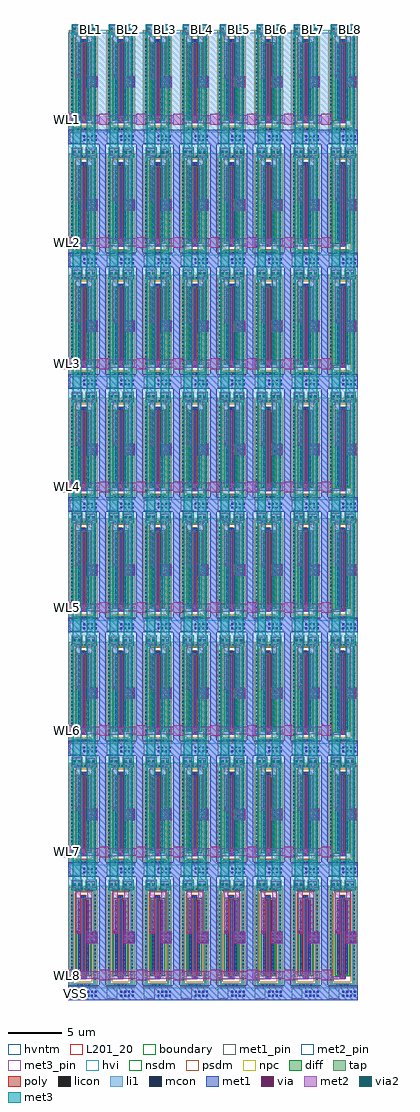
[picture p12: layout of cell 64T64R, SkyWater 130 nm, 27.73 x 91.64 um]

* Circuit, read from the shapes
.subckt 64T64R BL1 BL2 BL3 BL4 BL5 BL6 BL7 BL8 SL1 SL2 SL3 SL4 SL5 SL6 SL7 SL8 VSS WL1 WL2 WL3 WL4 WL5 WL6 WL7 WL8
XM1 BL1 WL8 SL1 VSS sky130_fd_pr__nfet_g5v0d10v5 w=7 l=0.5
XM2 BL1 WL7 SL1 VSS sky130_fd_pr__nfet_g5v0d10v5 w=7 l=0.5
XM3 BL1 WL6 SL1 VSS sky130_fd_pr__nfet_g5v0d10v5 w=7 l=0.5
XM4 BL1 WL5 SL1 VSS sky130_fd_pr__nfet_g5v0d10v5 w=7 l=0.5
XM5 BL1 WL4 SL1 VSS sky130_fd_pr__nfet_g5v0d10v5 w=7 l=0.5
XM6 BL1 WL3 SL1 VSS sky130_fd_pr__nfet_g5v0d10v5 w=7 l=0.5
XM7 BL1 WL2 SL1 VSS sky130_fd_pr__nfet_g5v0d10v5 w=7 l=0.5
XM8 BL1 WL1 SL1 VSS sky130_fd_pr__nfet_g5v0d10v5 w=7 l=0.5
XM9 BL2 WL8 SL2 VSS sky130_fd_pr__nfet_g5v0d10v5 w=7 l=0.5
XM10 BL2 WL7 SL2 VSS sky130_fd_pr__nfet_g5v0d10v5 w=7 l=0.5
XM11 BL2 WL6 SL2 VSS sky130_fd_pr__nfet_g5v0d10v5 w=7 l=0.5
XM12 BL2 WL5 SL2 VSS sky130_fd_pr__nfet_g5v0d10v5 w=7 l=0.5
XM13 BL2 WL4 SL2 VSS sky130_fd_pr__nfet_g5v0d10v5 w=7 l=0.5
XM14 BL2 WL3 SL2 VSS sky130_fd_pr__nfet_g5v0d10v5 w=7 l=0.5
XM15 BL2 WL2 SL2 VSS sky130_fd_pr__nfet_g5v0d10v5 w=7 l=0.5
XM16 BL2 WL1 SL2 VSS sky130_fd_pr__nfet_g5v0d10v5 w=7 l=0.5
XM17 BL3 WL8 SL3 VSS sky130_fd_pr__nfet_g5v0d10v5 w=7 l=0.5
XM18 BL3 WL7 SL3 VSS sky130_fd_pr__nfet_g5v0d10v5 w=7 l=0.5
XM19 BL3 WL6 SL3 VSS sky130_fd_pr__nfet_g5v0d10v5 w=7 l=0.5
XM20 BL3 WL5 SL3 VSS sky130_fd_pr__nfet_g5v0d10v5 w=7 l=0.5
XM21 BL3 WL4 SL3 VSS sky130_fd_pr__nfet_g5v0d10v5 w=7 l=0.5
XM22 BL3 WL3 SL3 VSS sky130_fd_pr__nfet_g5v0d10v5 w=7 l=0.5
XM23 BL3 WL2 SL3 VSS sky130_fd_pr__nfet_g5v0d10v5 w=7 l=0.5
XM24 BL3 WL1 SL3 VSS sky130_fd_pr__nfet_g5v0d10v5 w=7 l=0.5
XM25 BL4 WL8 SL4 VSS sky130_fd_pr__nfet_g5v0d10v5 w=7 l=0.5
XM26 BL4 WL7 SL4 VSS sky130_fd_pr__nfet_g5v0d10v5 w=7 l=0.5
XM27 BL4 WL6 SL4 VSS sky130_fd_pr__nfet_g5v0d10v5 w=7 l=0.5
XM28 BL4 WL5 SL4 VSS sky130_fd_pr__nfet_g5v0d10v5 w=7 l=0.5
XM29 BL4 WL4 SL4 VSS sky130_fd_pr__nfet_g5v0d10v5 w=7 l=0.5
XM30 BL4 WL3 SL4 VSS sky130_fd_pr__nfet_g5v0d10v5 w=7 l=0.5
XM31 BL4 WL2 SL4 VSS sky130_fd_pr__nfet_g5v0d10v5 w=7 l=0.5
XM32 BL4 WL1 SL4 VSS sky130_fd_pr__nfet_g5v0d10v5 w=7 l=0.5
XM33 BL5 WL8 SL5 VSS sky130_fd_pr__nfet_g5v0d10v5 w=7 l=0.5
XM34 BL5 WL7 SL5 VSS sky130_fd_pr__nfet_g5v0d10v5 w=7 l=0.5
XM35 BL5 WL6 SL5 VSS sky130_fd_pr__nfet_g5v0d10v5 w=7 l=0.5
XM36 BL5 WL5 SL5 VSS sky130_fd_pr__nfet_g5v0d10v5 w=7 l=0.5
XM37 BL5 WL4 SL5 VSS sky130_fd_pr__nfet_g5v0d10v5 w=7 l=0.5
XM38 BL5 WL3 SL5 VSS sky130_fd_pr__nfet_g5v0d10v5 w=7 l=0.5
XM39 BL5 WL2 SL5 VSS sky130_fd_pr__nfet_g5v0d10v5 w=7 l=0.5
XM40 BL5 WL1 SL5 VSS sky130_fd_pr__nfet_g5v0d10v5 w=7 l=0.5
XM41 BL6 WL8 SL6 VSS sky130_fd_pr__nfet_g5v0d10v5 w=7 l=0.5
XM42 BL6 WL7 SL6 VSS sky130_fd_pr__nfet_g5v0d10v5 w=7 l=0.5
XM43 BL6 WL6 SL6 VSS sky130_fd_pr__nfet_g5v0d10v5 w=7 l=0.5
XM44 BL6 WL5 SL6 VSS sky130_fd_pr__nfet_g5v0d10v5 w=7 l=0.5
XM45 BL6 WL4 SL6 VSS sky130_fd_pr__nfet_g5v0d10v5 w=7 l=0.5
XM46 BL6 WL3 SL6 VSS sky130_fd_pr__nfet_g5v0d10v5 w=7 l=0.5
XM47 BL6 WL2 SL6 VSS sky130_fd_pr__nfet_g5v0d10v5 w=7 l=0.5
XM48 BL6 WL1 SL6 VSS sky130_fd_pr__nfet_g5v0d10v5 w=7 l=0.5
XM49 BL7 WL8 SL7 VSS sky130_fd_pr__nfet_g5v0d10v5 w=7 l=0.5
XM50 BL7 WL7 SL7 VSS sky130_fd_pr__nfet_g5v0d10v5 w=7 l=0.5
XM51 BL7 WL6 SL7 VSS sky130_fd_pr__nfet_g5v0d10v5 w=7 l=0.5
XM52 BL7 WL5 SL7 VSS sky130_fd_pr__nfet_g5v0d10v5 w=7 l=0.5
XM53 BL7 WL4 SL7 VSS sky130_fd_pr__nfet_g5v0d10v5 w=7 l=0.5
XM54 BL7 WL3 SL7 VSS sky130_fd_pr__nfet_g5v0d10v5 w=7 l=0.5
XM55 BL7 WL2 SL7 VSS sky130_fd_pr__nfet_g5v0d10v5 w=7 l=0.5
XM56 BL7 WL1 SL7 VSS sky130_fd_pr__nfet_g5v0d10v5 w=7 l=0.5
XM57 BL8 WL8 SL8 VSS sky130_fd_pr__nfet_g5v0d10v5 w=7 l=0.5
XM58 BL8 WL7 SL8 VSS sky130_fd_pr__nfet_g5v0d10v5 w=7 l=0.5
XM59 BL8 WL6 SL8 VSS sky130_fd_pr__nfet_g5v0d10v5 w=7 l=0.5
XM60 BL8 WL5 SL8 VSS sky130_fd_pr__nfet_g5v0d10v5 w=7 l=0.5
XM61 BL8 WL4 SL8 VSS sky130_fd_pr__nfet_g5v0d10v5 w=7 l=0.5
XM62 BL8 WL3 SL8 VSS sky130_fd_pr__nfet_g5v0d10v5 w=7 l=0.5
XM63 BL8 WL2 SL8 VSS sky130_fd_pr__nfet_g5v0d10v5 w=7 l=0.5
XM64 BL8 WL1 SL8 VSS sky130_fd_pr__nfet_g5v0d10v5 w=7 l=0.5
.ends

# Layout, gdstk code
import gdstk
lib = gdstk.Library(unit=1e-6, precision=1e-09)
def R(c, l, rs):  # rectangles x0, y0, x1, y1
    for r in rs: c.add(gdstk.rectangle(r[:2], r[2:], *l))
def A(c, l, x, y, w, h, nx, ny, dx, dy):  # array of equal rectangles
    R(c, l, [(x+i*dx, y+j*dy, x+i*dx+w, y+j*dy+h) for i in range(nx) for j in range(ny)])
diff = (65, 20)
tap = (65, 44)
poly = (66, 20)
licon = (66, 44)
li1 = (67, 20)
mcon = (67, 44)
met1_pin = (68, 16)
met1 = (68, 20)
via = (68, 44)
met2_pin = (69, 16)
met2 = (69, 20)
via2 = (69, 44)
met3_pin = (70, 16)
met3 = (70, 20)
hvi = (75, 20)
nsdm = (93, 44)
psdm = (94, 20)
npc = (95, 20)
hvntm = (125, 20)
L201_20 = (201, 20)
boundary = (235, 4)

sky130_fd_pr_reram__rera = lib.new_cell('sky130_fd_pr_reram__reram_cell')
R(sky130_fd_pr_reram__rera, met1_pin, [(0,-2,1,-1)])
R(sky130_fd_pr_reram__rera, met1, [(-0.03,-2,1.03,-1)])
A(sky130_fd_pr_reram__rera, via, 0.105, -1.895, 0.15, 0.15, 3, 3, 0.32, 0.32)
R(sky130_fd_pr_reram__rera, met2_pin, [(0,-2,1,-1)])
R(sky130_fd_pr_reram__rera, met2, [(0,-2.03,1,-0.97)])
R(sky130_fd_pr_reram__rera, L201_20, [(0,-2,1,-1)])
sky130_fd_pr_reram__rera.add(gdstk.Label('TE', (0.5,-1.5), layer=69, texttype=5))
sky130_fd_pr_reram__rera.add(gdstk.Label('BE', (0.5,-1.5), layer=68, texttype=5))

sky130_fd_pr__nfet_g5v0d = lib.new_cell('sky130_fd_pr__nfet_g5v0d10v5_9YEQ2B')
R(sky130_fd_pr__nfet_g5v0d, diff, [(-0.54,-3.5,0.54,3.5)])
R(sky130_fd_pr__nfet_g5v0d, tap, [(-1.21,-4.61,1.21,-4.32), (-1.21,-4.32,-0.92,4.32), (0.92,-4.32,1.21,4.32), (-1.21,4.32,1.21,4.61)])
R(sky130_fd_pr__nfet_g5v0d, poly, [(-0.25,-3.94,0.25,3.94)])
A(sky130_fd_pr__nfet_g5v0d, licon, -0.595, -4.55, 0.17, 0.17, 4, 2, 0.34, 8.93)
A(sky130_fd_pr__nfet_g5v0d, licon, -1.15, -3.995, 0.17, 0.17, 1, 24, 0, 0.34)
A(sky130_fd_pr__nfet_g5v0d, licon, 0.98, -3.995, 0.17, 0.17, 1, 24, 0, 0.34)
A(sky130_fd_pr__nfet_g5v0d, licon, -0.48, -3.315, 0.17, 0.17, 1, 20, 0, 0.34)
A(sky130_fd_pr__nfet_g5v0d, licon, 0.31, -3.315, 0.17, 0.17, 1, 20, 0, 0.34)
R(sky130_fd_pr__nfet_g5v0d, licon, [(-0.085,-3.86,0.085,-3.69), (-0.085,3.69,0.085,3.86)])
R(sky130_fd_pr__nfet_g5v0d, li1, [(-1.15,-4.55,1.15,-4.38), (-1.15,-4.38,-0.98,4.38), (0.98,-4.38,1.15,4.38), (-0.25,-3.86,0.25,-3.69), (-0.48,-3.52,-0.31,3.52), (0.31,-3.52,0.48,3.52), (-0.25,3.69,0.25,3.86), (-1.15,4.38,1.15,4.55)])
A(sky130_fd_pr__nfet_g5v0d, mcon, -0.48, -3.325, 0.17, 0.17, 1, 19, 0, 0.36)
A(sky130_fd_pr__nfet_g5v0d, mcon, 0.31, -3.325, 0.17, 0.17, 1, 19, 0, 0.36)
R(sky130_fd_pr__nfet_g5v0d, mcon, [(-0.085,-3.86,0.085,-3.69), (-0.085,3.69,0.085,3.86)])
R(sky130_fd_pr__nfet_g5v0d, met1, [(-0.23,-3.89,0.23,-3.66), (-0.51,-3.5,-0.28,3.5), (0.28,-3.5,0.51,3.5), (-0.23,3.66,0.23,3.89)])
R(sky130_fd_pr__nfet_g5v0d, hvi, [(-1.395,-4.795,1.395,4.795)])
R(sky130_fd_pr__nfet_g5v0d, nsdm, [(-0.665,-3.625,0.665,3.625)])
R(sky130_fd_pr__nfet_g5v0d, psdm, [(-1.335,-4.735,1.335,-4.195), (-1.335,-4.195,-0.795,4.195), (0.795,-4.195,1.335,4.195), (-1.335,4.195,1.335,4.735)])
R(sky130_fd_pr__nfet_g5v0d, npc, [(-0.185,-3.96,0.185,-3.59), (-0.185,3.59,0.185,3.96)])
R(sky130_fd_pr__nfet_g5v0d, hvntm, [(-0.725,-3.685,0.725,3.685)])
R(sky130_fd_pr__nfet_g5v0d, boundary, [(-1.06,-4.46,1.06,4.46)])

c_1t1r = lib.new_cell('1T1R')
R(c_1t1r, li1, [(3.12,-1.64,5.98,-0.28), (3.12,-0.28,3.4,8.82), (5.7,-0.28,5.98,8.82)])
A(c_1t1r, mcon, 4.545, -1.32, 0.17, 0.17, 4, 2, 0.36, 0.36)
R(c_1t1r, met1_pin, [(3.26,-1.54,4.26,-0.54)])
R(c_1t1r, met1, [(3.12,-1.64,5.98,-0.27), (4.29,0.36,4.84,0.63), (4.46,0.63,4.66,8.14), (3.91,4.62,4.3,4.88)])
R(c_1t1r, via, [(4.49,0.42,4.64,0.57), (4.03,4.675,4.18,4.825)])
R(c_1t1r, met2_pin, [(2.56,0.2,3.56,1.2)])
R(c_1t1r, met2, [(2.56,0.2,3.56,0.32), (4.34,0.31,4.79,0.32), (2.56,0.32,4.79,0.56), (2.56,0.56,3.56,1.2), (4.34,0.56,4.79,0.68), (4.9,4.43,5.35,8.86), (3.96,4.57,4.25,4.61), (3.83,4.61,4.28,8.88), (4.86,8.86,5.65,9.52), (3.54,8.88,4.33,9.54)])
R(c_1t1r, via2, [(4.955,9.09,5.155,9.29), (5.355,9.09,5.555,9.29), (3.635,9.11,3.835,9.31), (4.035,9.11,4.235,9.31)])
R(c_1t1r, met3_pin, [(3.45,8.65,4.45,9.65), (4.78,8.65,5.78,9.65)])
R(c_1t1r, met3, [(3.45,8.65,4.45,9.65), (4.78,8.65,5.78,9.65)])
c_1t1r.add(gdstk.Reference(sky130_fd_pr_reram__rera, (4.84,5.72)))
c_1t1r.add(gdstk.Reference(sky130_fd_pr__nfet_g5v0d, (4.55,4.27)))
c_1t1r.add(gdstk.Label('SL', (3.95,9.15), layer=70, texttype=5))
c_1t1r.add(gdstk.Label('VSS', (3.76,-1.04), layer=68, texttype=5))
c_1t1r.add(gdstk.Label('WL', (3.06,0.7), layer=69, texttype=5))
c_1t1r.add(gdstk.Label('BL', (5.28,9.15), layer=70, texttype=5))

c_4t4r = lib.new_cell('4T4R')
R(c_4t4r, li1, [(5.73,4.27,6.42,5.64), (5.73,5.64,6.34,14.73), (2.87,14.73,9.2,15.83), (5.73,15.83,6.34,16.86), (5.68,16.86,6.34,26.29)])
R(c_4t4r, met1_pin, [(3.01,4.37,4.01,5.37)])
R(c_4t4r, met1, [(5.62,4.27,6.42,5.64), (3.01,4.37,4.01,5.37), (5.76,5.64,6.37,15.83), (5.67,15.83,6.37,17.2)])
R(c_4t4r, met2_pin, [(2.31,6.11,3.31,7.11), (2.31,17.67,3.31,18.67)])
R(c_4t4r, met2, [(2.31,6.11,3.31,6.26), (2.31,6.26,6.72,6.98), (2.31,6.98,3.31,7.11), (2.31,17.67,3.31,17.81), (2.31,17.81,6.62,18.53), (2.31,18.53,3.31,18.67)])
R(c_4t4r, met3_pin, [(3.2,26.12,4.2,27.12), (4.53,26.12,5.53,27.12), (6.67,26.12,7.67,27.12), (8,26.12,9,27.12)])
R(c_4t4r, met3, [(3.29,14.78,4.08,26.12), (4.61,14.82,5.4,26.12), (6.76,14.83,7.55,26.12), (8.08,15.14,8.87,26.12), (3.2,26.12,4.2,27.12), (4.53,26.12,5.53,27.12), (6.67,26.12,7.67,27.12), (8,26.12,9,27.12)])
R(c_4t4r, hvi, [(5.695,5.385,6.375,14.975), (5.695,16.945,6.375,26.535)])
c_4t4r.add(gdstk.Reference(c_1t1r, (3.22,5.91)))
c_4t4r.add(gdstk.Reference(c_1t1r, (3.22,17.47)))
c_4t4r.add(gdstk.Reference(c_1t1r, (-0.25,5.91)))
c_4t4r.add(gdstk.Reference(c_1t1r, (-0.25,17.47)))
c_4t4r.add(gdstk.Label('VSS', (3.51,4.87), layer=68, texttype=5))
c_4t4r.add(gdstk.Label('BL1', (5.03,26.62), layer=70, texttype=5))
c_4t4r.add(gdstk.Label('BL2', (8.5,26.62), layer=70, texttype=5))
c_4t4r.add(gdstk.Label('WL1', (2.81,18.17), layer=69, texttype=5))
c_4t4r.add(gdstk.Label('WL2', (2.81,6.61), layer=69, texttype=5))
c_4t4r.add(gdstk.Label('SL1', (3.7,26.62), layer=70, texttype=5))
c_4t4r.add(gdstk.Label('SL2', (7.17,26.62), layer=70, texttype=5))

c_16t16r = lib.new_cell('16T16R')
R(c_16t16r, li1, [(13.78,3,14.41,13.46), (7.45,13.46,20.74,14.56), (10.34,14.56,10.95,15.92), (13.78,14.56,14.41,25.01), (10.14,15.92,10.95,25.01), (17.27,15.93,17.88,25.01), (7.45,25.01,20.74,25.95), (10.34,25.95,10.95,27.23), (13.78,25.95,14.41,36.41), (7.45,36.41,20.74,37.51), (13.78,37.51,14.41,47.97), (10.31,38.88,10.94,47.97), (17.27,38.88,17.88,47.97)])
R(c_16t16r, met1_pin, [(7.59,3.1,8.59,4.1)])
R(c_16t16r, met1, [(13.78,3,14.45,4.37), (7.59,3.1,8.59,4.1), (13.83,4.37,14.44,14.56), (10.34,14.33,10.95,27.37), (13.74,14.56,14.44,15.93), (13.83,15.93,14.44,25.95), (17.31,15.93,17.92,25.98), (13.72,25.95,14.44,27.32), (13.83,27.32,14.44,37.51), (13.71,37.51,14.44,38.88)])
R(c_16t16r, met2_pin, [(6.89,4.84,7.89,5.84), (6.89,16.4,7.89,17.4), (6.89,27.79,7.89,28.79), (6.89,39.35,7.89,40.35)])
R(c_16t16r, met2, [(6.89,4.84,7.89,5.84), (9.8,4.99,14.01,5.71), (6.89,16.4,7.89,17.4), (10.11,16.54,14.32,17.26), (6.89,27.79,7.89,28.79), (10.16,27.94,14.37,28.66), (6.89,39.35,7.89,40.35), (10.19,39.49,14.4,40.21)])
R(c_16t16r, met3_pin, [(7.78,47.8,8.78,48.8), (9.11,47.8,10.11,48.8), (11.25,47.8,12.25,48.8), (12.58,47.8,13.58,48.8), (14.74,47.8,15.74,48.8), (16.07,47.8,17.07,48.8), (18.21,47.8,19.21,48.8), (19.54,47.8,20.54,48.8)])
R(c_16t16r, met3, [(16.15,13.81,16.94,47.8), (12.66,13.82,13.45,47.8), (19.62,13.88,20.41,47.8), (9.19,13.93,9.98,47.8), (7.87,25.2,8.66,37.37), (11.34,25.21,12.13,37.38), (14.83,25.23,15.62,37.4), (18.3,25.27,19.09,37.44), (7.78,47.8,8.78,48.8), (9.11,47.8,10.11,48.8), (11.25,47.8,12.25,48.8), (12.58,47.8,13.58,48.8), (14.74,47.8,15.74,48.8), (16.07,47.8,17.07,48.8), (18.21,47.8,19.21,48.8), (19.54,47.8,20.54,48.8)])
c_16t16r.add(gdstk.Reference(c_4t4r, (11.54,-1.27)))
c_16t16r.add(gdstk.Reference(c_4t4r, (11.54,21.68)))
c_16t16r.add(gdstk.Reference(c_4t4r, (4.58,-1.27)))
c_16t16r.add(gdstk.Reference(c_4t4r, (4.58,21.68)))
c_16t16r.add(gdstk.Label('WL1', (7.39,39.85), layer=69, texttype=5))
c_16t16r.add(gdstk.Label('WL2', (7.39,28.29), layer=69, texttype=5))
c_16t16r.add(gdstk.Label('WL3', (7.39,16.9), layer=69, texttype=5))
c_16t16r.add(gdstk.Label('WL4', (7.39,5.34), layer=69, texttype=5))
c_16t16r.add(gdstk.Label('BL1', (9.61,48.3), layer=70, texttype=5))
c_16t16r.add(gdstk.Label('BL2', (13.08,48.3), layer=70, texttype=5))
c_16t16r.add(gdstk.Label('BL3', (16.57,48.3), layer=70, texttype=5))
c_16t16r.add(gdstk.Label('BL4', (20.04,48.3), layer=70, texttype=5))
c_16t16r.add(gdstk.Label('SL1', (8.28,48.3), layer=70, texttype=5))
c_16t16r.add(gdstk.Label('SL2', (11.75,48.3), layer=70, texttype=5))
c_16t16r.add(gdstk.Label('SL3', (15.24,48.3), layer=70, texttype=5))
c_16t16r.add(gdstk.Label('SL4', (18.71,48.3), layer=70, texttype=5))
c_16t16r.add(gdstk.Label('VSS', (8.09,3.6), layer=68, texttype=5))

c_64t64r = lib.new_cell('64T64R')
R(c_64t64r, li1, [(78.95,-9.82,79.54,35.15), (65.66,35.15,92.83,36.02), (78.95,36.02,79.54,80.99)])
R(c_64t64r, met1_pin, [(65.8,-9.72,66.8,-8.72)])
R(c_64t64r, met1, [(78.95,-9.82,79.6,-8.45), (65.8,-9.72,66.8,-8.72), (78.99,-8.45,79.6,1.74), (78.95,1.74,79.6,3.11), (78.99,3.11,79.6,13.13), (78.95,13.13,79.6,14.5), (78.99,14.5,79.6,24.69), (68.55,24.69,69.16,37.62), (72.04,24.69,72.65,37.62), (75.51,24.69,76.12,37.62), (78.95,24.69,79.6,26.06), (82.43,24.69,83.04,37.62), (85.92,24.69,86.53,37.62), (89.39,24.69,90,37.62), (78.99,26.06,79.6,36.02), (78.95,36.02,79.6,37.39), (78.99,37.39,79.6,47.58), (78.95,47.58,79.6,48.95), (78.99,48.95,79.6,58.97), (78.95,58.97,79.6,60.34), (78.99,60.34,79.6,70.53), (78.95,70.53,79.6,71.9)])
R(c_64t64r, met2_pin, [(65.1,-7.98,66.1,-6.98), (65.1,3.58,66.1,4.58), (65.1,14.97,66.1,15.97), (65.1,26.53,66.1,27.53), (65.1,37.86,66.1,38.86), (65.1,49.42,66.1,50.42), (65.1,60.81,66.1,61.81), (65.1,72.37,66.1,73.37)])
R(c_64t64r, met2, [(65.1,-7.98,66.1,-6.98), (75.39,-7.83,79.62,-7.11), (65.1,3.58,66.1,4.58), (75.27,3.72,79.5,4.44), (65.1,14.97,66.1,15.97), (75.31,15.12,79.54,15.84), (65.1,26.53,66.1,27.53), (75.31,26.67,79.54,27.39), (65.1,37.86,66.1,38.86), (75.29,38.01,79.52,38.73), (65.1,49.42,66.1,50.42), (75.33,49.56,79.56,50.28), (65.1,60.81,66.1,61.81), (75.34,60.96,79.57,61.68), (65.1,72.37,66.1,73.37), (75.34,72.51,79.57,73.23)])
R(c_64t64r, met3_pin, [(65.99,80.82,66.99,81.82), (67.32,80.82,68.32,81.82), (69.46,80.82,70.46,81.82), (70.79,80.82,71.79,81.82), (72.95,80.82,73.95,81.82), (74.28,80.82,75.28,81.82), (76.42,80.82,77.42,81.82), (77.75,80.82,78.75,81.82), (79.87,80.82,80.87,81.82), (81.2,80.82,82.2,81.82), (83.34,80.82,84.34,81.82), (84.67,80.82,85.67,81.82), (86.83,80.82,87.83,81.82), (88.16,80.82,89.16,81.82), (90.3,80.82,91.3,81.82), (91.63,80.82,92.63,81.82)])
R(c_64t64r, met3, [(70.87,0.96,71.67,80.82), (74.36,0.96,75.16,80.82), (81.28,0.96,82.08,80.82), (84.75,0.96,85.55,80.82), (91.71,0.96,92.51,80.82), (67.4,0.97,68.2,80.82), (77.83,0.97,78.63,80.82), (88.24,0.97,89.04,80.82), (69.55,35.41,70.34,47.4), (66.08,35.42,66.87,47.41), (83.43,35.42,84.22,47.41), (86.92,35.43,87.71,47.42), (73.04,35.44,73.83,47.43), (76.51,35.44,77.3,47.43), (90.39,35.44,91.18,47.43), (79.96,35.48,80.75,47.47), (65.99,80.82,66.99,81.82), (67.32,80.82,68.32,81.82), (69.46,80.82,70.46,81.82), (70.79,80.82,71.79,81.82), (72.95,80.82,73.95,81.82), (74.28,80.82,75.28,81.82), (76.42,80.82,77.42,81.82), (77.75,80.82,78.75,81.82), (79.87,80.82,80.87,81.82), (81.2,80.82,82.2,81.82), (83.34,80.82,84.34,81.82), (84.67,80.82,85.67,81.82), (86.83,80.82,87.83,81.82), (88.16,80.82,89.16,81.82), (90.3,80.82,91.3,81.82), (91.63,80.82,92.63,81.82)])
R(c_64t64r, hvi, [(78.915,-8.705,79.575,0.885), (78.915,2.855,79.575,12.445), (78.915,14.245,79.575,23.835), (78.915,25.805,79.575,35.395), (78.915,37.135,79.575,46.725), (78.915,48.695,79.575,58.285), (78.915,60.085,79.575,69.675), (78.915,71.645,79.575,81.235)])
c_64t64r.add(gdstk.Reference(c_16t16r, (72.09,33.02)))
c_64t64r.add(gdstk.Reference(c_16t16r, (72.09,-12.82)))
c_64t64r.add(gdstk.Reference(c_16t16r, (58.21,-12.82)))
c_64t64r.add(gdstk.Reference(c_16t16r, (58.21,33.02)))
c_64t64r.add(gdstk.Label('VSS', (66.3,-9.22), layer=68, texttype=5))
c_64t64r.add(gdstk.Label('WL1', (65.6,72.87), layer=69, texttype=5))
c_64t64r.add(gdstk.Label('WL2', (65.6,61.31), layer=69, texttype=5))
c_64t64r.add(gdstk.Label('WL3', (65.6,49.92), layer=69, texttype=5))
c_64t64r.add(gdstk.Label('WL4', (65.6,38.36), layer=69, texttype=5))
c_64t64r.add(gdstk.Label('WL5', (65.6,27.03), layer=69, texttype=5))
c_64t64r.add(gdstk.Label('WL6', (65.6,15.47), layer=69, texttype=5))
c_64t64r.add(gdstk.Label('WL7', (65.6,4.08), layer=69, texttype=5))
c_64t64r.add(gdstk.Label('WL8', (65.6,-7.48), layer=69, texttype=5))
c_64t64r.add(gdstk.Label('BL1', (67.82,81.32), layer=70, texttype=5))
c_64t64r.add(gdstk.Label('BL2', (71.29,81.32), layer=70, texttype=5))
c_64t64r.add(gdstk.Label('BL3', (74.78,81.32), layer=70, texttype=5))
c_64t64r.add(gdstk.Label('BL4', (78.25,81.32), layer=70, texttype=5))
c_64t64r.add(gdstk.Label('BL5', (81.7,81.32), layer=70, texttype=5))
c_64t64r.add(gdstk.Label('BL6', (85.17,81.32), layer=70, texttype=5))
c_64t64r.add(gdstk.Label('BL7', (88.66,81.32), layer=70, texttype=5))
c_64t64r.add(gdstk.Label('BL8', (92.13,81.32), layer=70, texttype=5))
c_64t64r.add(gdstk.Label('SL1', (66.49,81.32), layer=70, texttype=5))
c_64t64r.add(gdstk.Label('SL2', (69.96,81.32), layer=70, texttype=5))
c_64t64r.add(gdstk.Label('SL4', (76.92,81.32), layer=70, texttype=5))
c_64t64r.add(gdstk.Label('SL5', (80.37,81.32), layer=70, texttype=5))
c_64t64r.add(gdstk.Label('SL6', (83.84,81.32), layer=70, texttype=5))
c_64t64r.add(gdstk.Label('SL7', (87.33,81.32), layer=70, texttype=5))
c_64t64r.add(gdstk.Label('SL8', (90.8,81.32), layer=70, texttype=5))
c_64t64r.add(gdstk.Label('SL3', (73.45,81.32), layer=70, texttype=5))

lib.write_gds('64T64R.gds')
